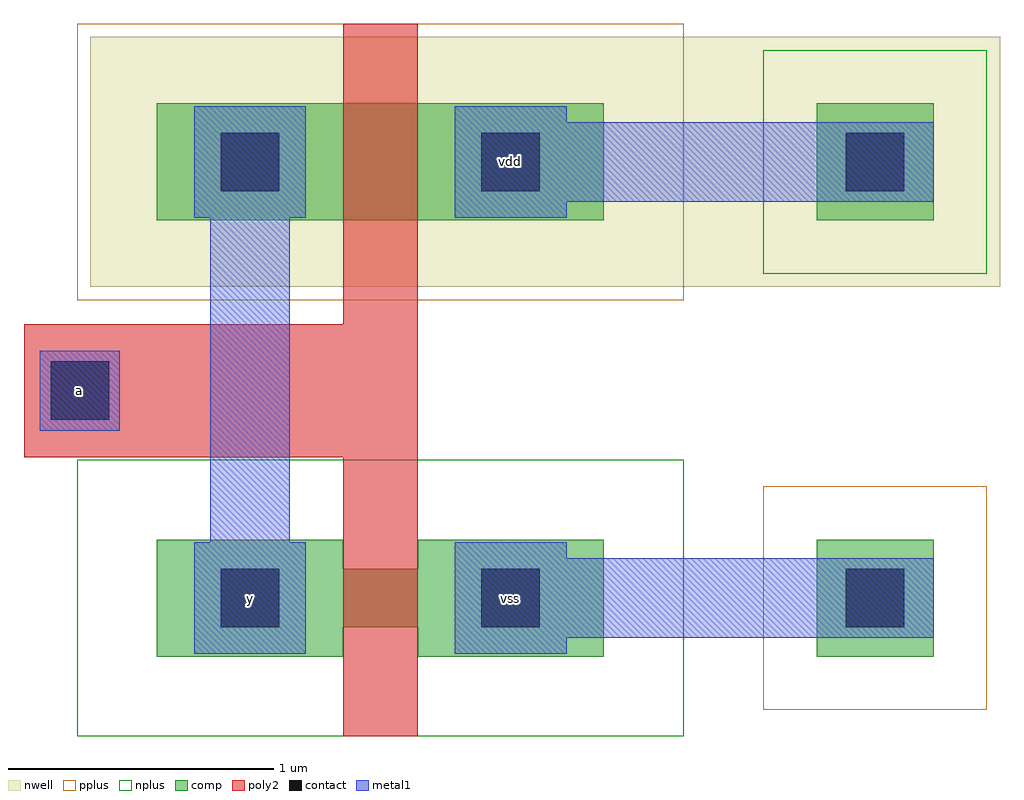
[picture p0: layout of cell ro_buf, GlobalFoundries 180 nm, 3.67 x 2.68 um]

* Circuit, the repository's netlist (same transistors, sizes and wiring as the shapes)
* extracted by klt extract --deck gf180mcu

* cell ro_buf
* pin a
* pin vdd
* pin vss
* pin y
.SUBCKT ro_buf a vdd vss y
* device instance $1 r0 *1 0.84,0.22 nfet
X$1 vss a y vss nfet_03v3 L=0.28U W=0.22U AS=0.308P AD=0.308P PS=2.28U PD=2.28U
* device instance $2 r0 *1 0.84,1.86 pfet
X$2 vdd a y vdd pfet_03v3 L=0.28U W=0.44U AS=0.308P AD=0.308P PS=2.28U PD=2.28U
.ENDS ro_buf

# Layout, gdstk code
import gdstk
lib = gdstk.Library(unit=1e-6, precision=1e-09)
def R(c, l, rs):  # rectangles x0, y0, x1, y1
    for r in rs: c.add(gdstk.rectangle(r[:2], r[2:], *l))
nwell = (21, 0)
comp = (22, 0)
poly2 = (30, 0)
pplus = (31, 0)
nplus = (32, 0)
contact = (33, 0)
metal1 = (34, 0)

ro_buf = lib.new_cell('ro_buf')
R(ro_buf, nwell, [(-0.25,1.39,1.93,2.33), (1.83,1.39,3.17,2.33)])
R(ro_buf, comp, [(0,0,0.7,0.44), (0.98,0,1.68,0.44), (2.48,0,2.92,0.44), (0.7,0.11,0.98,0.33), (0,1.64,1.68,2.08), (2.48,1.64,2.92,2.08)])
R(ro_buf, poly2, [(0.7,-0.3,0.98,2.38), (-0.5,0.75,0.98,1.25)])
R(ro_buf, pplus, [(2.28,-0.2,3.12,0.64), (-0.3,1.34,1.98,2.38)])
R(ro_buf, nplus, [(-0.3,-0.3,1,0.74), (0.68,-0.3,1.98,0.74), (0.4,-0.19,1.28,0.63), (2.28,1.44,3.12,2.28)])
R(ro_buf, contact, [(0.24,0.11,0.46,0.33), (1.22,0.11,1.44,0.33), (2.59,0.11,2.81,0.33), (-0.4,0.89,-0.18,1.11), (0.24,1.75,0.46,1.97), (1.22,1.75,1.44,1.97), (2.59,1.75,2.81,1.97)])
R(ro_buf, metal1, [(0.14,0.01,0.56,0.43), (1.12,0.01,1.54,0.43), (1.44,0.07,2.92,0.37), (0.2,0.4,0.5,1.68), (-0.44,0.85,-0.14,1.15), (0.14,1.65,0.56,2.07), (1.12,1.65,1.54,2.07), (1.44,1.71,2.92,2.01)])
ro_buf.add(gdstk.Label('a', (-0.29,1), layer=34, texttype=10))
ro_buf.add(gdstk.Label('y', (0.35,0.22), layer=34, texttype=10))
ro_buf.add(gdstk.Label('vss', (1.33,0.22), layer=34, texttype=10))
ro_buf.add(gdstk.Label('vdd', (1.33,1.86), layer=34, texttype=10))

lib.write_gds('ro_buf.gds')
